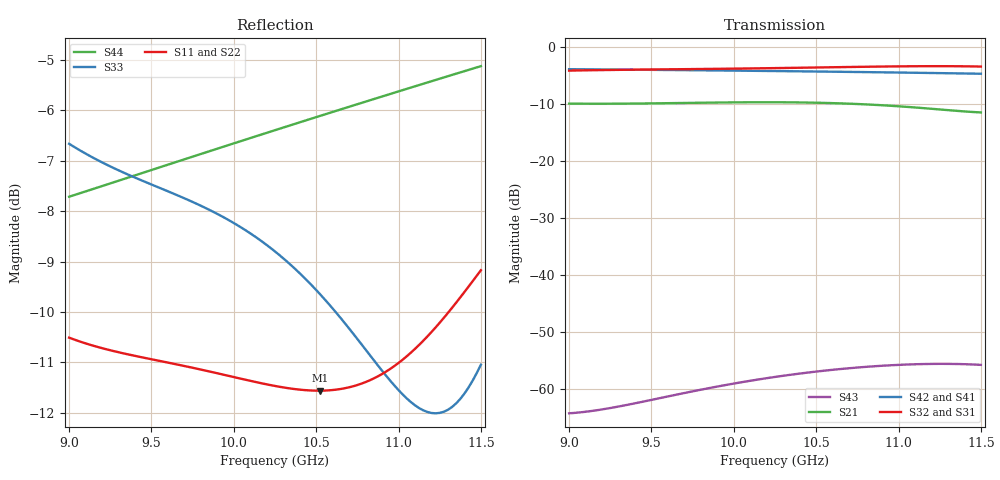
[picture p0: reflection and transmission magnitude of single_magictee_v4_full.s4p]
! Generated from PyAEDT SolutionData; AEDT ExportNetworkData workaround
# GHz S MA R 50
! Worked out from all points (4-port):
!   101 points, 9 GHz to 11.5 GHz, reference 50 ohm
!   strongest paths, dB at 9 GHz, 9.625 GHz, 10.25 GHz, 10.88 GHz, 11.5 GHz:
!     S32: -4.1, -3.8, -3.6, -3.4, -3.4
!     S31: -4.1, -3.8, -3.6, -3.4, -3.4
!     S42: -3.8, -4.0, -4.1, -4.4, -4.6
!     S41: -3.8, -4.0, -4.1, -4.3, -4.6
!     S21: -9.9, -9.8, -9.6, -10.1, -11.4
!     S43: -64.2, -61.1, -57.8, -55.9, -55.7
!   lowest |S11| = -11.6 dB at 10.53 GHz (marker M1), VSWR 1.72, Z = 29.1 - j0.735 ohm
!   |S11| at or under -10 dB: start of sweep to 11.3 GHz
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9  0.2983 -15.4  0.3217 -98.4  0.6264 -28.8  0.6444 45.0
   0.3217 -98.4  0.2978 -15.3  0.6263 -28.9  0.6447 -135.1
   0.6264 -28.8  0.6263 -28.9  0.4641 -178.9  0.0006182 -78.5
   0.6444 45.0  0.6447 -135.1  0.0006182 -78.5  0.4113 -125.7
9.4  0.2861 -61.4  0.3221 -151.7  0.6385 -99.2  0.6377 -0.3
     0.3221 -151.7  0.2859 -61.3  0.6385 -99.3  0.6378 179.6
     0.6385 -99.2  0.6385 -99.3  0.4297 91.5  0.0007567 -135.1
     0.6377 -0.3  0.6378 179.6  0.0007567 -135.1  0.4319 -167.5
9.85  0.2761 -110.9  0.328 151.5  0.6483 -175.1  0.6292 -49.3
      0.328 151.5  0.276 -110.7  0.6483 -175.2  0.6293 130.6
      0.6483 -175.1  0.6483 -175.2  0.3993 -5.0  0.001028 151.7
      0.6292 -49.3  0.6293 130.6  0.001028 151.7  0.4562 146.6
10.2  0.2681 -146.8  0.3306 108.5  0.6573 127.3  0.6219 -86.4
      0.3306 108.5  0.2678 -146.5  0.6574 127.2  0.6219 93.4
      0.6573 127.3  0.6574 127.2  0.3684 -78.6  0.001257 90.0
      0.6219 -86.4  0.6219 93.4  0.001257 90.0  0.4759 111.5
10.525  0.2643 -177.5  0.3269 69.4  0.6676 74.3  0.6146 -120.3
        0.3269 69.4  0.2637 -177.1  0.6679 74.2  0.6145 59.5
        0.6676 74.3  0.6679 74.2  0.3291 -148.4  0.001449 30.7
        0.6146 -120.3  0.6145 59.5  0.001449 30.7  0.4947 79.2
11  0.2815 141.5  0.3047 15.2  0.6814 -3.7  0.6029 -169.0
    0.3047 15.2  0.2804 141.8  0.6824 -3.8  0.6024 10.8
    0.6814 -3.7  0.6824 -3.8  0.2646 98.6  0.001644 -57.8
    0.6029 -169.0  0.6024 10.8  0.001644 -57.8  0.523 32.3
11.5  0.3478 94.9  0.2691 -32.7  0.6778 -88.6  0.5892 140.4
      0.2691 -32.7  0.346 95.0  0.6797 -88.7  0.5881 -39.8
      0.6778 -88.6  0.6797 -88.7  0.2804 -42.9  0.001644 -151.4
      0.5892 140.4  0.5881 -39.8  0.001644 -151.4  0.554 -17.0
